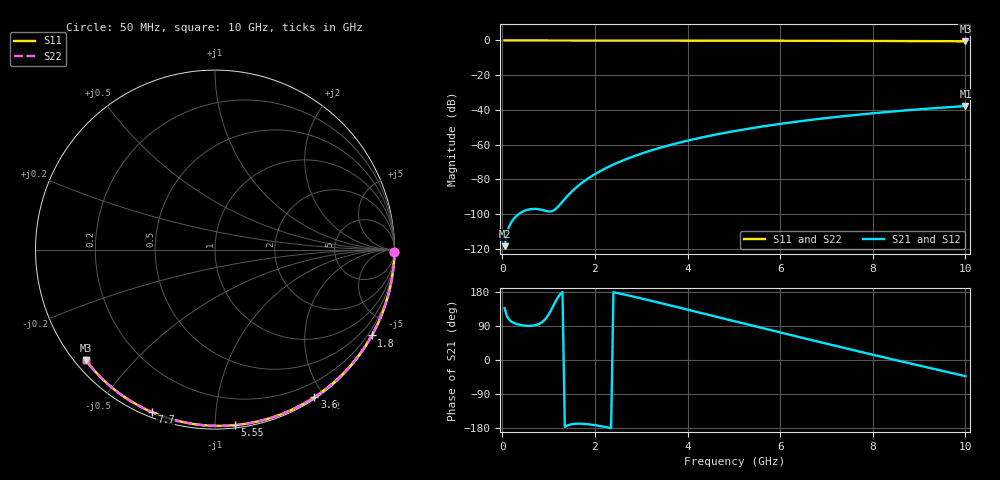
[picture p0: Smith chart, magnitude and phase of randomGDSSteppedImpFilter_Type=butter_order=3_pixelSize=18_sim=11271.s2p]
! freq	dB(S11)	phase(S11)	dB(S12)	phase(S12)
!  dB(S21)	phase(S21)	dB(S22)	phase(S22)
!S-par simulation data
#  GHz  S  DB  R 50
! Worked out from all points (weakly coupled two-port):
!   200 points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, 50 MHz to 10 GHz, reference 50 ohm
!   highest |S21| = -37.80 dB at 10 GHz (marker M1); lowest = -118.6 dB at 50 MHz (marker M2)
!   lowest |S11| = -0.5 dB at 10 GHz (marker M3), VSWR 36.84, Z = 1.54 - j18.4 ohm
!   |S11| at or under -10 dB: nowhere
!   |S22| runs from -0.5 to 0.0 dB; largest |S21 - S12| = 0
!   S11 on the Smith chart (normalised r, x): 50 MHz: open; 1.8 GHz: 0.03, -3.91; 3.6 GHz: 0.02, -1.88; 5.55 GHz: 0.02, -1.12; 7.7 GHz: 0.02, -0.68; 10 GHz: 0.03, -0.37
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0.05  -0.00 -0.8  -118.59 136.6  -118.59 136.6  -0.00 -0.8
0.45  -0.01 -7.3  -98.55 91.2  -98.55 91.2  -0.01 -7.3
0.9  -0.02 -14.5  -97.98 104.1  -97.98 104.1  -0.02 -14.5
1.75  -0.04 -27.9  -81.48 -168.4  -81.48 -168.4  -0.04 -27.9
1.8  -0.04 -28.7  -80.51 -168.8  -80.51 -168.8  -0.04 -28.7
1.85  -0.04 -29.5  -79.60 -169.4  -79.60 -169.4  -0.04 -29.5
2.05  -0.04 -32.6  -76.29 -172.9  -76.29 -172.9  -0.04 -32.6
2.25  -0.05 -35.7  -73.44 -177.3  -73.44 -177.3  -0.05 -35.7
2.55  -0.05 -40.3  -69.78 175.1  -69.78 175.1  -0.05 -40.3
2.95  -0.06 -46.3  -65.73 163.9  -65.73 163.9  -0.06 -46.3
3.4  -0.07 -53.1  -61.94 150.8  -61.94 150.8  -0.07 -53.1
3.6  -0.08 -56.0  -60.45 144.9  -60.45 144.9  -0.08 -56.0
3.9  -0.08 -60.4  -58.40 135.9  -58.40 135.9  -0.08 -60.4
4.3  -0.09 -66.1  -55.96 123.9  -55.96 123.9  -0.09 -66.1
5.05  -0.12 -76.7  -52.07 101.3  -52.07 101.3  -0.12 -76.7
5.55  -0.14 -83.5  -49.87 86.2  -49.87 86.2  -0.14 -83.5
6.1  -0.16 -90.8  -47.73 69.7  -47.73 69.7  -0.16 -90.8
6.7  -0.19 -98.7  -45.67 51.9  -45.67 51.9  -0.19 -98.7
7.7  -0.25 -111.4  -42.75 22.6  -42.75 22.6  -0.25 -111.4
8.35  -0.31 -119.4  -41.14 3.9  -41.14 3.9  -0.31 -119.4
9.2  -0.38 -129.8  -39.29 -20.2  -39.29 -20.2  -0.38 -129.8
10  -0.47 -139.5  -37.80 -42.7  -37.80 -42.7  -0.47 -139.5
